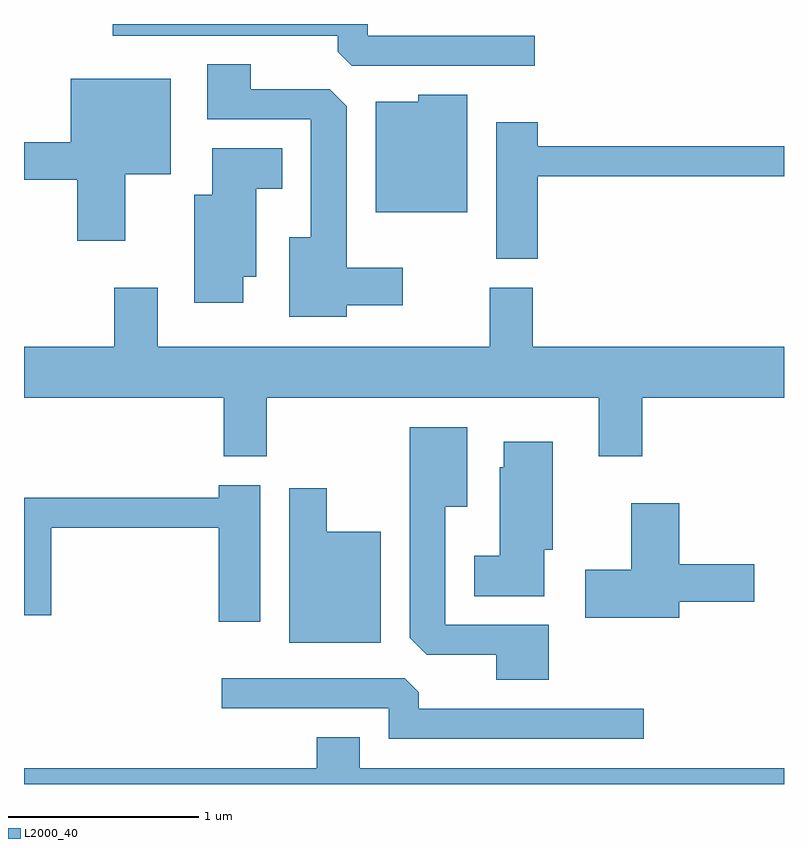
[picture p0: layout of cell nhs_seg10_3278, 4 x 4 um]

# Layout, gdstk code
import gdstk
lib = gdstk.Library(unit=1e-6, precision=1e-09)
def P(c, l, *ps):  # polygons
    for p in ps: c.add(gdstk.Polygon(p, *l))
L2000_40 = (2000, 40)

nhs_seg10_3278 = lib.new_cell('nhs_seg10_3278')
P(nhs_seg10_3278, L2000_40, [(284.298,2142.459),(283.419,2142.459),(283.419,2142.522),(282.078,2142.522),(282.078,2142.461),(283.261,2142.461),(283.261,2142.377),(283.337,2142.301),(284.298,2142.301)],
  [(283.309,2141.041),(283.604,2141.041),(283.604,2141.239),(283.309,2141.239),(283.309,2142.089),(283.219,2142.179),(282.804,2142.179),(282.804,2142.309),(282.576,2142.309),(282.576,2142.021),(283.121,2142.021),(283.121,2141.399),(283.006,2141.399),(283.006,2140.981),(283.309,2140.981)],
  [(282.144,2141.731),(282.384,2141.731),(282.384,2142.234),(281.856,2142.234),(281.856,2141.899),(281.611,2141.899),(281.611,2141.701),(281.891,2141.701),(281.891,2141.381),(282.144,2141.381)],
  [(283.944,2142.149),(283.686,2142.149),(283.686,2142.114),(283.461,2142.114),(283.461,2141.531),(283.944,2141.531)],
  [(284.314,2141.721),(285.611,2141.721),(285.611,2141.879),(284.314,2141.879),(284.314,2142.004),(284.096,2142.004),(284.096,2141.286),(284.314,2141.286)],
  [(282.764,2141.191),(282.834,2141.191),(282.834,2141.656),(282.969,2141.656),(282.969,2141.869),(282.601,2141.869),(282.601,2141.624),(282.506,2141.624),(282.506,2141.056),(282.764,2141.056)],
  [(282.889,2140.556),(284.636,2140.556),(284.636,2140.246),(284.864,2140.246),(284.864,2140.556),(285.611,2140.556),(285.611,2140.824),(284.289,2140.824),(284.289,2141.134),(284.061,2141.134),(284.061,2140.824),(282.314,2140.824),(282.314,2141.134),(282.086,2141.134),(282.086,2140.824),(281.611,2140.824),(281.611,2140.556),(282.661,2140.556),(282.661,2140.246),(282.889,2140.246)],
  [(284.374,2139.359),(283.829,2139.359),(283.829,2139.981),(283.944,2139.981),(283.944,2140.399),(283.641,2140.399),(283.641,2139.292),(283.732,2139.201),(284.096,2139.201),(284.096,2139.071),(284.374,2139.071)],
  [(284.349,2139.756),(284.394,2139.756),(284.394,2140.324),(284.136,2140.324),(284.136,2140.189),(284.116,2140.189),(284.116,2139.724),(283.981,2139.724),(283.981,2139.511),(284.349,2139.511)],
  [(282.854,2140.094),(282.636,2140.094),(282.636,2140.029),(281.611,2140.029),(281.611,2139.411),(281.754,2139.411),(281.754,2139.871),(282.636,2139.871),(282.636,2139.376),(282.854,2139.376)],
  [(283.489,2139.849),(283.204,2139.849),(283.204,2140.079),(283.006,2140.079),(283.006,2139.266),(283.489,2139.266)],
  [(285.059,2139.481),(285.454,2139.481),(285.454,2139.679),(285.059,2139.679),(285.059,2139.999),(284.806,2139.999),(284.806,2139.649),(284.566,2139.649),(284.566,2139.396),(285.059,2139.396)],
  [(284.873,2138.919),(283.689,2138.919),(283.689,2139.004),(283.614,2139.079),(282.653,2139.079),(282.653,2138.921),(283.531,2138.921),(283.531,2138.761),(284.873,2138.761)],
  [(285.611,2138.604),(283.379,2138.604),(283.379,2138.769),(283.151,2138.769),(283.151,2138.604),(281.611,2138.604),(281.611,2138.522),(285.611,2138.522)])

lib.write_gds('nhs_seg10_3278.gds')
